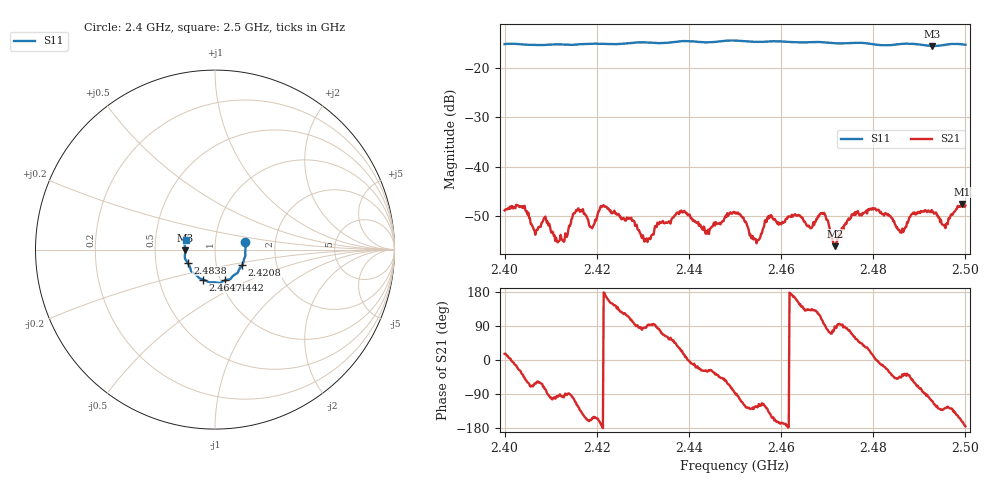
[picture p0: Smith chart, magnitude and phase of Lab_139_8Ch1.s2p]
# Hz S RI R 50
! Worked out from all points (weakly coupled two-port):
!   601 points, 2.4 GHz to 2.5 GHz, reference 50 ohm
!   highest |S21| = -47.56 dB at 2.4993 GHz (marker M1); lowest = -56.1 dB at 2.4717 GHz (marker M2)
!   lowest |S11| = -15.6 dB at 2.4928 GHz (marker M3), VSWR 1.40, Z = 35.8 - j0.358 ohm
!   |S11| at or under -10 dB: start of sweep to end of sweep
!   S12 and S22 are empty: the file has one direction only
!   S11 on the Smith chart (normalised r, x): 2.4 GHz: 1.40, +0.12; 2.4208 GHz: 1.33, -0.24; 2.4442 GHz: 1.05, -0.37; 2.4647 GHz: 0.83, -0.29; 2.4838 GHz: 0.73, -0.11; 2.5 GHz: 0.72, +0.08
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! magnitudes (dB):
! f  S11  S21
! 2.4 GHz  -15.2  -48.9
! 2.4115 GHz  -15.3  -55.3
! 2.4167 GHz  -15.2  -49.1
! 2.4188 GHz  -15.2  -52.3
! 2.4208 GHz  -15.2  -48.0
! 2.4307 GHz  -14.9  -55.0
! 2.4333 GHz  -15.0  -51.5
! 2.4388 GHz  -14.6  -49.1
! 2.4442 GHz  -14.9  -52.8
! 2.45 GHz  -14.5  -49.2
! 2.4545 GHz  -14.8  -54.7
! 2.4575 GHz  -14.7  -49.9
! 2.4647 GHz  -14.9  -50.3
! 2.4667 GHz  -14.8  -52.3
! 2.4692 GHz  -14.9  -49.6
! 2.4717 GHz  -15.1  -56.1
! 2.4762 GHz  -15.0  -49.8
! 2.4833 GHz  -15.5  -49.9
! 2.4838 GHz  -15.4  -50.3
! 2.4928 GHz  -15.6  -49.1
! 2.4993 GHz  -15.3  -47.6
! 2.5 GHz  -15.4  -47.9
